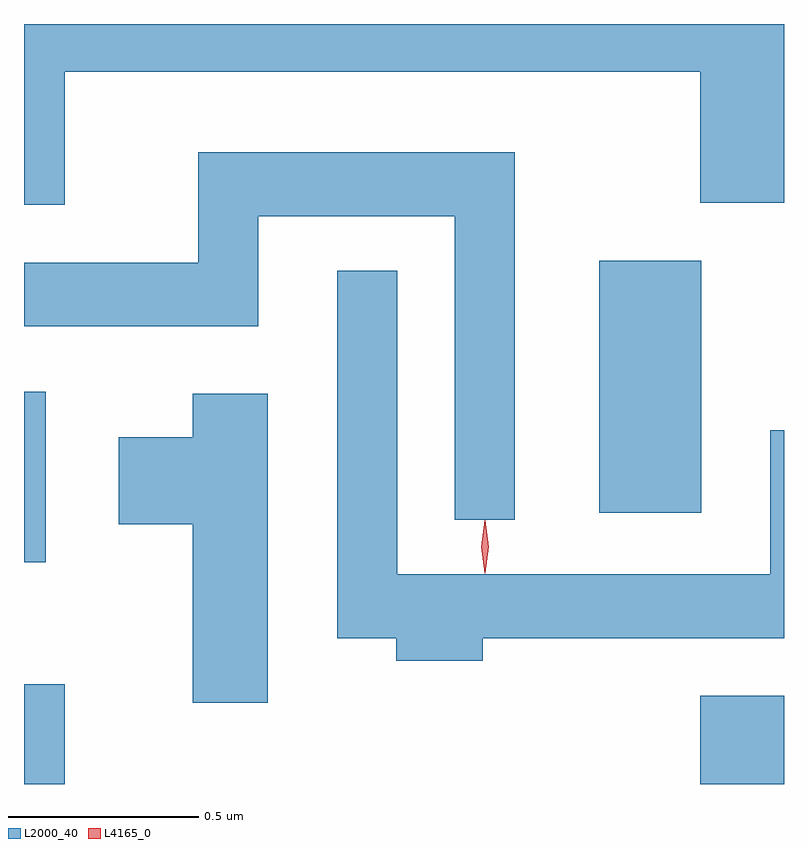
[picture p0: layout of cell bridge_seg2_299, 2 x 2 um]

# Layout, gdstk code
import gdstk
lib = gdstk.Library(unit=1e-6, precision=1e-09)
def R(c, l, rs):  # rectangles x0, y0, x1, y1
    for r in rs: c.add(gdstk.rectangle(r[:2], r[2:], *l))
def P(c, l, *ps):  # polygons
    for p in ps: c.add(gdstk.Polygon(p, *l))
L2000_40 = (2000, 40)
L4165_0 = (4165, 0)

bridge_seg2_299 = lib.new_cell('bridge_seg2_299')
R(bridge_seg2_299, L2000_40, [(582.262,1050.882,582.369,1051.144), (584.041,1050.882,584.262,1051.114), (582.262,1051.466,582.319,1051.914), (583.776,1051.596,584.044,1052.259)])
P(bridge_seg2_299, L2000_40, [(582.369,1052.756),(584.041,1052.756),(584.041,1052.411),(584.262,1052.411),(584.262,1052.882),(582.262,1052.882),(582.262,1052.406),(582.369,1052.406)],
  [(583.554,1052.544),(582.721,1052.544),(582.721,1052.254),(582.262,1052.254),(582.262,1052.086),(582.879,1052.086),(582.879,1052.376),(583.396,1052.376),(583.396,1051.578),(583.554,1051.578)],
  [(583.469,1051.266),(584.262,1051.266),(584.262,1051.813),(584.226,1051.813),(584.226,1051.434),(583.244,1051.434),(583.244,1052.233),(583.086,1052.233),(583.086,1051.266),(583.241,1051.266),(583.241,1051.206),(583.469,1051.206)],
  [(582.904,1051.909),(582.706,1051.909),(582.706,1051.794),(582.511,1051.794),(582.511,1051.566),(582.706,1051.566),(582.706,1051.096),(582.904,1051.096)])
P(bridge_seg2_299, L4165_0, [(583.474,1051.437),(583.465,1051.507),(583.474,1051.576),(583.475,1051.576),(583.476,1051.576),(583.485,1051.507),(583.476,1051.437),(583.475,1051.437)],
  [(583.475,1051.439),(583.474,1051.44),(583.465,1051.506),(583.474,1051.572),(583.475,1051.573),(583.476,1051.572),(583.485,1051.506),(583.476,1051.44)])

lib.write_gds('bridge_seg2_299.gds')
